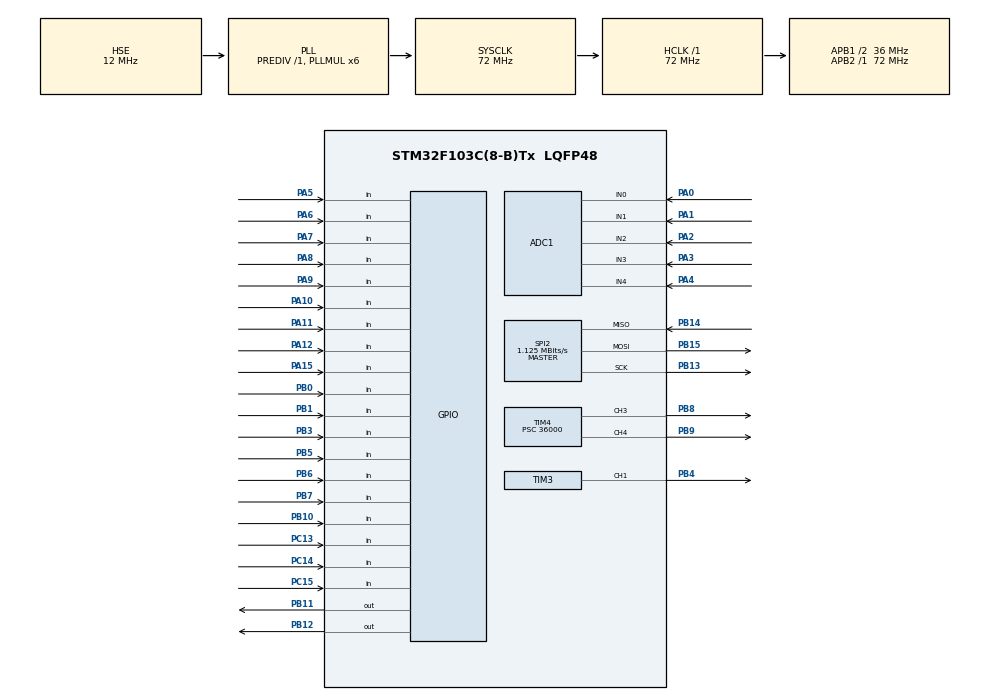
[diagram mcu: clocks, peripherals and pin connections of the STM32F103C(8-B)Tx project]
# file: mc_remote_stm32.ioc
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ADC1.Channel-0\#ChannelRegularConversion=ADC_CHANNEL_0
ADC1.Channel-1\#ChannelRegularConversion=ADC_CHANNEL_1
ADC1.Channel-2\#ChannelRegularConversion=ADC_CHANNEL_2
ADC1.Channel-3\#ChannelRegularConversion=ADC_CHANNEL_3
ADC1.Channel-4\#ChannelRegularConversion=ADC_CHANNEL_4
ADC1.ContinuousConvMode=ENABLE
ADC1.NbrOfConversion=5
ADC1.NbrOfConversionFlag=1
ADC1.Rank-0\#ChannelRegularConversion=1
ADC1.Rank-1\#ChannelRegularConversion=2
ADC1.Rank-2\#ChannelRegularConversion=3
ADC1.Rank-3\#ChannelRegularConversion=4
ADC1.Rank-4\#ChannelRegularConversion=5
ADC1.SamplingTime-0\#ChannelRegularConversion=ADC_SAMPLETIME_1CYCLE_5
ADC1.SamplingTime-1\#ChannelRegularConversion=ADC_SAMPLETIME_1CYCLE_5
ADC1.SamplingTime-2\#ChannelRegularConversion=ADC_SAMPLETIME_1CYCLE_5
ADC1.SamplingTime-3\#ChannelRegularConversion=ADC_SAMPLETIME_1CYCLE_5
ADC1.SamplingTime-4\#ChannelRegularConversion=ADC_SAMPLETIME_1CYCLE_5
ADC1.master=1
Dma.ADC1.0.Direction=DMA_PERIPH_TO_MEMORY
Dma.ADC1.0.Instance=DMA1_Channel1
Dma.ADC1.0.MemDataAlignment=DMA_MDATAALIGN_WORD
Dma.ADC1.0.MemInc=DMA_MINC_ENABLE
Dma.ADC1.0.Mode=DMA_CIRCULAR
Dma.ADC1.0.PeriphDataAlignment=DMA_PDATAALIGN_WORD
Dma.ADC1.0.PeriphInc=DMA_PINC_DISABLE
Dma.ADC1.0.Priority=DMA_PRIORITY_HIGH
Dma.Request0=ADC1
Mcu.Family=STM32F1
Mcu.Name=STM32F103C(8-B)Tx
Mcu.Package=LQFP48
NVIC.DMA1_Channel1_IRQn=true\:0\:0\:false\:false\:true\:false\:true
NVIC.PriorityGroup=NVIC_PRIORITYGROUP_4
PA0-WKUP.Signal=ADCx_IN0
PA1.Signal=ADCx_IN1
PA10.GPIO_PuPd=GPIO_PULLUP
PA10.Signal=GPIO_Input
PA11.GPIO_PuPd=GPIO_PULLUP
PA11.Signal=GPIO_Input
PA12.GPIO_PuPd=GPIO_PULLUP
PA12.Signal=GPIO_Input
PA13.Mode=Serial_Wire
PA13.Signal=SYS_JTMS-SWDIO
PA14.Mode=Serial_Wire
PA14.Signal=SYS_JTCK-SWCLK
PA15.GPIO_PuPd=GPIO_PULLUP
PA15.Signal=GPIO_Input
PA2.Signal=ADCx_IN2
PA3.Signal=ADCx_IN3
PA4.Signal=ADCx_IN4
PA5.GPIO_PuPd=GPIO_PULLUP
PA5.Signal=GPIO_Input
PA6.GPIO_PuPd=GPIO_PULLUP
PA6.Signal=GPIO_Input
PA7.GPIO_PuPd=GPIO_PULLUP
PA7.Signal=GPIO_Input
PA8.GPIO_PuPd=GPIO_PULLUP
PA8.Signal=GPIO_Input
PA9.GPIO_PuPd=GPIO_PULLUP
PA9.Signal=GPIO_Input
PB0.GPIO_PuPd=GPIO_PULLUP
PB0.Signal=GPIO_Input
PB1.GPIO_PuPd=GPIO_PULLUP
PB1.Signal=GPIO_Input
PB10.GPIO_PuPd=GPIO_PULLUP
PB10.Signal=GPIO_Input
PB11.GPIO_PuPd=GPIO_NOPULL
PB11.GPIO_Speed=GPIO_SPEED_FREQ_HIGH
PB11.PinState=GPIO_PIN_SET
PB11.Signal=GPIO_Output
PB12.GPIO_Speed=GPIO_SPEED_FREQ_HIGH
PB12.PinState=GPIO_PIN_SET
PB12.Signal=GPIO_Output
PB13.Mode=Full_Duplex_Master
PB13.Signal=SPI2_SCK
PB14.Mode=Full_Duplex_Master
PB14.Signal=SPI2_MISO
PB15.Mode=Full_Duplex_Master
PB15.Signal=SPI2_MOSI
PB3.GPIO_PuPd=GPIO_PULLUP
PB3.Signal=GPIO_Input
PB4.Signal=S_TIM3_CH1
PB5.GPIO_PuPd=GPIO_PULLUP
PB5.Signal=GPIO_Input
PB6.GPIO_PuPd=GPIO_PULLUP
PB6.Signal=GPIO_Input
PB7.GPIO_PuPd=GPIO_PULLUP
PB7.Signal=GPIO_Input
PB8.Signal=S_TIM4_CH3
PB9.Signal=S_TIM4_CH4
PC13-TAMPER-RTC.GPIO_PuPd=GPIO_PULLUP
PC13-TAMPER-RTC.Signal=GPIO_Input
PC14-OSC32_IN.GPIO_PuPd=GPIO_PULLUP
PC14-OSC32_IN.Signal=GPIO_Input
PC15-OSC32_OUT.GPIO_PuPd=GPIO_PULLUP
PC15-OSC32_OUT.Signal=GPIO_Input
PD0-OSC_IN.Mode=HSE-External-Oscillator
PD0-OSC_IN.Signal=RCC_OSC_IN
PD1-OSC_OUT.Mode=HSE-External-Oscillator
PD1-OSC_OUT.Signal=RCC_OSC_OUT
ProjectManager.HeapSize=0x200
ProjectManager.StackSize=0x400
ProjectManager.TargetToolchain=MDK-ARM V5
RCC.ADCPresc=RCC_ADCPCLK2_DIV8
RCC.AHBFreq_Value=72000000
RCC.APB1CLKDivider=RCC_HCLK_DIV2
RCC.APB1Freq_Value=36000000
RCC.APB1TimFreq_Value=72000000
RCC.APB2Freq_Value=72000000
RCC.APB2TimFreq_Value=72000000
RCC.HCLKFreq_Value=72000000
RCC.HSE_VALUE=12000000
RCC.PLLMUL=RCC_PLL_MUL6
RCC.PLLSourceVirtual=RCC_PLLSOURCE_HSE
RCC.SYSCLKFreq_VALUE=72000000
RCC.SYSCLKSource=RCC_SYSCLKSOURCE_PLLCLK
RCC.USBFreq_Value=72000000
SH.ADCx_IN0.0=ADC1_IN0,IN0
SH.ADCx_IN1.0=ADC1_IN1,IN1
SH.ADCx_IN2.0=ADC1_IN2,IN2
SH.ADCx_IN3.0=ADC1_IN3,IN3
SH.ADCx_IN4.0=ADC1_IN4,IN4
SH.S_TIM3_CH1.0=TIM3_CH1,PWM Generation1 CH1
SH.S_TIM4_CH3.0=TIM4_CH3,PWM Generation3 CH3
SH.S_TIM4_CH4.0=TIM4_CH4,PWM Generation4 CH4
SPI2.BaudRatePrescaler=SPI_BAUDRATEPRESCALER_32
SPI2.CalculateBaudRate=1.125 MBits/s
SPI2.Direction=SPI_DIRECTION_2LINES
SPI2.Mode=SPI_MODE_MASTER
SPI2.VirtualType=VM_MASTER
TIM3.AutoReloadPreload=TIM_AUTORELOAD_PRELOAD_ENABLE
TIM3.Channel-PWM\ Generation1\ CH1=TIM_CHANNEL_1
TIM3.OCPolarity_1=TIM_OCPOLARITY_LOW
TIM3.Period=20
TIM3.Prescaler=72
TIM3.Pulse-PWM\ Generation1\ CH1=21
TIM4.AutoReloadPreload=TIM_AUTORELOAD_PRELOAD_ENABLE
TIM4.Channel-PWM\ Generation3\ CH3=TIM_CHANNEL_3
TIM4.Channel-PWM\ Generation4\ CH4=TIM_CHANNEL_4
TIM4.Period=2000
TIM4.Prescaler=36000
TIM4.Pulse-PWM\ Generation3\ CH3=1000
TIM4.Pulse-PWM\ Generation4\ CH4=1000
board=custom

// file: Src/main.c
/* USER CODE BEGIN Header */
/**
  ******************************************************************************
  * @file           : main.c
  * @brief          : Main program body
  ******************************************************************************
  * @attention
  *
  * <h2><center>&copy; Copyright (c) 2019 STMicroelectronics.
  * All rights reserved.</center></h2>
  *
  * This software component is licensed by ST under BSD 3-Clause license,
  * the "License"; You may not use this file except in compliance with the
  * License. You may obtain a copy of the License at:
  *                        opensource.org/licenses/BSD-3-Clause
  *
  ******************************************************************************
  */
/* USER CODE END Header */

#include "main.h"

/* USER CODE BEGIN Includes */
#include "string.h"
#include "dev.h"
/* USER CODE END Includes */

ADC_HandleTypeDef hadc1;
DMA_HandleTypeDef hdma_adc1;

SPI_HandleTypeDef hspi2;

TIM_HandleTypeDef htim3;
TIM_HandleTypeDef htim4;

/* USER CODE BEGIN PV */
dev_HandleTypeDef __led_ctrl;
dev_HandleTypeDef __beep_ctrl;
dev_HandleTypeDef __crc16;
dev_HandleTypeDef __comm;
dev_HandleTypeDef __flash;
fls_HandleTypeDef __fls;
rcs_HandleTypeDef __rc;
tep_HandleTypeDef __tep;
dev_HandleTypeDef __nrf;
/* USER CODE END PV */

void SystemClock_Config(void);
static void MX_GPIO_Init(void);
static void MX_DMA_Init(void);
static void MX_ADC1_Init(void);
static void MX_SPI2_Init(void);
static void MX_TIM3_Init(void);
static void MX_TIM4_Init(void);

/* USER CODE BEGIN 0 */
static uint32_t ADC_Value[SAMPLE_DEEP][SAMPLE_CHANNEL_COUNT];
/* adc raw data */
static unsigned int adc_raw_data[5];
/* unique ID got it form crc16 */
static unsigned short unique_id;
/* temple data */
static unsigned int dir[4] = {1,0,1,1};
/* send data freq */
static unsigned int send_freq = 0;
/*!< DMA transfer complete callback */
void HAL_ADC_ConvHalfCpltCallback(ADC_HandleTypeDef* hadc)
{

}

/* USER CODE END 0 */

int main(void)
{

  /* MCU Configuration--------------------------------------------------------*/

  /* Reset of all peripherals, Initializes the Flash interface and the Systick. */
  HAL_Init();

  /* Configure the system clock */
  SystemClock_Config();

  /* Initialize all configured peripherals */
  MX_GPIO_Init();
  MX_DMA_Init();
  MX_ADC1_Init();
  MX_SPI2_Init();
  MX_TIM3_Init();
  MX_TIM4_Init();
  /* USER CODE BEGIN 2 */
  Beep_Init(&__beep_ctrl);
	led_Init(&__led_ctrl);
	CRC16_Init(&__crc16);
	common_Init(&__comm);
	Flash_Init(&__flash);
	/* get unique ID */
	unique_id = __comm.ioctrl(UNIQUE_ID,0,&__crc16,0);
	/* logic code . check battery and nrf first */
	__comm.read((unsigned int)&ADC_Value,adc_raw_data,sizeof(adc_raw_data)/sizeof(adc_raw_data[0]));
	/* check nrf */
	if( nrf24L01_Init(&__nrf,&hspi2,unique_id) != 0 )
	{
		/* can not find the nrf moudle */
		__led_ctrl.ioctrl(GT_RT,0,0,0);
		/* stop at here */
		while(1);
	}
	/* need to calibrate or not */
	if( __flash.ioctrl(CALI_BUFFER,(unsigned int)&__crc16,&__fls,sizeof(__fls)) != 0 ||
		  __comm.ioctrl(KEY_CALIBRATION,0,0,0) == 0 ||
	    __fls.unique_id != unique_id )
	{
		/* notity */
		__led_ctrl.ioctrl(GS_RS,0,0,0);
		/* get unique ID */
		__fls.unique_id = unique_id;
		/* process of calibration */
		__comm.process((unsigned int)&ADC_Value,(unsigned int)&__fls,
			             (unsigned int)&__led_ctrl,(unsigned int)&__flash,(unsigned int)&__crc16);
	}
	/* Get the direction of each channel */
	dir[0] = ( HAL_GPIO_ReadPin(GPIOB,GPIO_PIN_6) == 0 ) ? 0 : 1;
	dir[1] = ( HAL_GPIO_ReadPin(GPIOB,GPIO_PIN_5) == 0 ) ? 1 : 0;
	dir[2] = ( HAL_GPIO_ReadPin(GPIOB,GPIO_PIN_1) == 0 ) ? 0 : 1;
	dir[3] = ( HAL_GPIO_ReadPin(GPIOB,GPIO_PIN_3) == 0 ) ? 0 : 1;
  /* USER CODE END 2 */

  /* Infinite loop */
	__led_ctrl.ioctrl(GS_RO,0,0,0);
  /* USER CODE BEGIN WHILE */
  while (1)
  {
		/* Filtering the collected data to generate the original data */
    __comm.read((unsigned int)&ADC_Value,adc_raw_data,sizeof(adc_raw_data)/sizeof(adc_raw_data[0]));
		/* transfer to rc */
		__tep.raw = (int *)&adc_raw_data;
		__tep.rc  = &__rc;
		__tep.fls = &__fls;
		__tep.dir = (unsigned int *)&dir;
		__tep.crc = &__crc16;
		__tep.unique_id = unique_id;
		/* transfer to rc */
		__comm.ioctrl(TRANSFER_RC,0,&__tep,sizeof(__tep));
		/* send data */
		if( ! ( send_freq ++ % 80 ) )
		{
		   __nrf.write(0,&__rc,sizeof(__rc));
		}
		/* low power . beep */
		if( adc_raw_data[4] < 2358 ) //( 3.8V / 2 ) / 3.3 * 4096 = 2358;
		{
			#if SILIENCE_DEBUG
					__beep_ctrl.ioctrl(LOWPOWER,0,0,0);
			#endif
		}
    /* USER CODE END WHILE */

  }
}

void SystemClock_Config(void)
{
  RCC_OscInitTypeDef RCC_OscInitStruct = {0};
  RCC_ClkInitTypeDef RCC_ClkInitStruct = {0};
  RCC_PeriphCLKInitTypeDef PeriphClkInit = {0};

  /** Initializes the CPU, AHB and APB busses clocks
  */
  RCC_OscInitStruct.OscillatorType = RCC_OSCILLATORTYPE_HSE;
  RCC_OscInitStruct.HSEState = RCC_HSE_ON;
  RCC_OscInitStruct.HSEPredivValue = RCC_HSE_PREDIV_DIV1;
  RCC_OscInitStruct.HSIState = RCC_HSI_ON;
  RCC_OscInitStruct.PLL.PLLState = RCC_PLL_ON;
  RCC_OscInitStruct.PLL.PLLSource = RCC_PLLSOURCE_HSE;
  RCC_OscInitStruct.PLL.PLLMUL = RCC_PLL_MUL6;
  if (HAL_RCC_OscConfig(&RCC_OscInitStruct) != HAL_OK)
  {
    Error_Handler();
  }
  /** Initializes the CPU, AHB and APB busses clocks
  */
  RCC_ClkInitStruct.ClockType = RCC_CLOCKTYPE_HCLK|RCC_CLOCKTYPE_SYSCLK
                              |RCC_CLOCKTYPE_PCLK1|RCC_CLOCKTYPE_PCLK2;
  RCC_ClkInitStruct.SYSCLKSource = RCC_SYSCLKSOURCE_PLLCLK;
  RCC_ClkInitStruct.AHBCLKDivider = RCC_SYSCLK_DIV1;
  RCC_ClkInitStruct.APB1CLKDivider = RCC_HCLK_DIV2;
  RCC_ClkInitStruct.APB2CLKDivider = RCC_HCLK_DIV1;

  if (HAL_RCC_ClockConfig(&RCC_ClkInitStruct, FLASH_LATENCY_2) != HAL_OK)
  {
    Error_Handler();
  }
  PeriphClkInit.PeriphClockSelection = RCC_PERIPHCLK_ADC;
  PeriphClkInit.AdcClockSelection = RCC_ADCPCLK2_DIV8;
  if (HAL_RCCEx_PeriphCLKConfig(&PeriphClkInit) != HAL_OK)
  {
    Error_Handler();
  }
}

static void MX_ADC1_Init(void)
{

  ADC_ChannelConfTypeDef sConfig = {0};

  /** Common config
  */
  hadc1.Instance = ADC1;
  hadc1.Init.ScanConvMode = ADC_SCAN_ENABLE;
  hadc1.Init.ContinuousConvMode = ENABLE;
  hadc1.Init.DiscontinuousConvMode = DISABLE;
  hadc1.Init.ExternalTrigConv = ADC_SOFTWARE_START;
  hadc1.Init.DataAlign = ADC_DATAALIGN_RIGHT;
  hadc1.Init.NbrOfConversion = 5;
  if (HAL_ADC_Init(&hadc1) != HAL_OK)
  {
    Error_Handler();
  }
  /** Configure Regular Channel
  */
  sConfig.Channel = ADC_CHANNEL_0;
  sConfig.Rank = ADC_REGULAR_RANK_1;
  sConfig.SamplingTime = ADC_SAMPLETIME_1CYCLE_5;
  if (HAL_ADC_ConfigChannel(&hadc1, &sConfig) != HAL_OK)
  {
    Error_Handler();
  }
  /** Configure Regular Channel
  */
  sConfig.Channel = ADC_CHANNEL_1;
  sConfig.Rank = ADC_REGULAR_RANK_2;
  if (HAL_ADC_ConfigChannel(&hadc1, &sConfig) != HAL_OK)
  {
    Error_Handler();
  }
  /** Configure Regular Channel
  */
  sConfig.Channel = ADC_CHANNEL_2;
  sConfig.Rank = ADC_REGULAR_RANK_3;
  if (HAL_ADC_ConfigChannel(&hadc1, &sConfig) != HAL_OK)
  {
    Error_Handler();
  }
  /** Configure Regular Channel
  */
  sConfig.Channel = ADC_CHANNEL_3;
  sConfig.Rank = ADC_REGULAR_RANK_4;
  if (HAL_ADC_ConfigChannel(&hadc1, &sConfig) != HAL_OK)
  {
    Error_Handler();
  }
  /** Configure Regular Channel
  */
  sConfig.Channel = ADC_CHANNEL_4;
  sConfig.Rank = ADC_REGULAR_RANK_5;
  if (HAL_ADC_ConfigChannel(&hadc1, &sConfig) != HAL_OK)
  {
    Error_Handler();
  }
  /* USER CODE BEGIN ADC1_Init 2 */
  HAL_ADC_Start_DMA(&hadc1, (uint32_t*)&ADC_Value, sizeof(ADC_Value) / 4 );
  /* USER CODE END ADC1_Init 2 */

}

static void MX_SPI2_Init(void)
{

  /* SPI2 parameter configuration*/
  hspi2.Instance = SPI2;
  hspi2.Init.Mode = SPI_MODE_MASTER;
  hspi2.Init.Direction = SPI_DIRECTION_2LINES;
  hspi2.Init.DataSize = SPI_DATASIZE_8BIT;
  hspi2.Init.CLKPolarity = SPI_POLARITY_LOW;
  hspi2.Init.CLKPhase = SPI_PHASE_1EDGE;
  hspi2.Init.NSS = SPI_NSS_SOFT;
  hspi2.Init.BaudRatePrescaler = SPI_BAUDRATEPRESCALER_32;
  hspi2.Init.FirstBit = SPI_FIRSTBIT_MSB;
  hspi2.Init.TIMode = SPI_TIMODE_DISABLE;
  hspi2.Init.CRCCalculation = SPI_CRCCALCULATION_DISABLE;
  hspi2.Init.CRCPolynomial = 10;
  if (HAL_SPI_Init(&hspi2) != HAL_OK)
  {
    Error_Handler();
  }

}

static void MX_TIM3_Init(void)
{

  TIM_MasterConfigTypeDef sMasterConfig = {0};
  TIM_OC_InitTypeDef sConfigOC = {0};

  htim3.Instance = TIM3;
  htim3.Init.Prescaler = 72;
  htim3.Init.CounterMode = TIM_COUNTERMODE_UP;
  htim3.Init.Period = 20;
  htim3.Init.ClockDivision = TIM_CLOCKDIVISION_DIV1;
  htim3.Init.AutoReloadPreload = TIM_AUTORELOAD_PRELOAD_ENABLE;
  if (HAL_TIM_PWM_Init(&htim3) != HAL_OK)
  {
    Error_Handler();
  }
  sMasterConfig.MasterOutputTrigger = TIM_TRGO_RESET;
  sMasterConfig.MasterSlaveMode = TIM_MASTERSLAVEMODE_DISABLE;
  if (HAL_TIMEx_MasterConfigSynchronization(&htim3, &sMasterConfig) != HAL_OK)
  {
    Error_Handler();
  }
  sConfigOC.OCMode = TIM_OCMODE_PWM1;
  sConfigOC.Pulse = 21;
  sConfigOC.OCPolarity = TIM_OCPOLARITY_LOW;
  sConfigOC.OCFastMode = TIM_OCFAST_DISABLE;
  if (HAL_TIM_PWM_ConfigChannel(&htim3, &sConfigOC, TIM_CHANNEL_1) != HAL_OK)
  {
    Error_Handler();
  }
  /* USER CODE BEGIN TIM3_Init 2 */
  HAL_TIM_PWM_Start(&htim3,TIM_CHANNEL_1);
  /* USER CODE END TIM3_Init 2 */
  HAL_TIM_MspPostInit(&htim3);

}

static void MX_TIM4_Init(void)
{

  TIM_MasterConfigTypeDef sMasterConfig = {0};
  TIM_OC_InitTypeDef sConfigOC = {0};

  htim4.Instance = TIM4;
  htim4.Init.Prescaler = 36000;
  htim4.Init.CounterMode = TIM_COUNTERMODE_UP;
  htim4.Init.Period = 2000;
  htim4.Init.ClockDivision = TIM_CLOCKDIVISION_DIV1;
  htim4.Init.AutoReloadPreload = TIM_AUTORELOAD_PRELOAD_ENABLE;
  if (HAL_TIM_PWM_Init(&htim4) != HAL_OK)
  {
    Error_Handler();
  }
  sMasterConfig.MasterOutputTrigger = TIM_TRGO_RESET;
  sMasterConfig.MasterSlaveMode = TIM_MASTERSLAVEMODE_DISABLE;
  if (HAL_TIMEx_MasterConfigSynchronization(&htim4, &sMasterConfig) != HAL_OK)
  {
    Error_Handler();
  }
  sConfigOC.OCMode = TIM_OCMODE_PWM1;
  sConfigOC.Pulse = 1000;
  sConfigOC.OCPolarity = TIM_OCPOLARITY_HIGH;
  sConfigOC.OCFastMode = TIM_OCFAST_DISABLE;
  if (HAL_TIM_PWM_ConfigChannel(&htim4, &sConfigOC, TIM_CHANNEL_3) != HAL_OK)
  {
    Error_Handler();
  }
  if (HAL_TIM_PWM_ConfigChannel(&htim4, &sConfigOC, TIM_CHANNEL_4) != HAL_OK)
  {
    Error_Handler();
  }
  /* USER CODE BEGIN TIM4_Init 2 */
  HAL_TIM_PWM_Start(&htim4,TIM_CHANNEL_3);
	HAL_TIM_PWM_Start(&htim4,TIM_CHANNEL_4);
  /* USER CODE END TIM4_Init 2 */
  HAL_TIM_MspPostInit(&htim4);

}

static void MX_DMA_Init(void)
{
  /* DMA controller clock enable */
  __HAL_RCC_DMA1_CLK_ENABLE();

  /* DMA interrupt init */
  /* DMA1_Channel1_IRQn interrupt configuration */
  HAL_NVIC_SetPriority(DMA1_Channel1_IRQn, 0, 0);
  HAL_NVIC_EnableIRQ(DMA1_Channel1_IRQn);

}

static void MX_GPIO_Init(void)
{
  GPIO_InitTypeDef GPIO_InitStruct = {0};

  /* GPIO Ports Clock Enable */
  __HAL_RCC_GPIOC_CLK_ENABLE();
  __HAL_RCC_GPIOD_CLK_ENABLE();
  __HAL_RCC_GPIOA_CLK_ENABLE();
  __HAL_RCC_GPIOB_CLK_ENABLE();

  /*Configure GPIO pin Output Level */
  HAL_GPIO_WritePin(GPIOB, GPIO_PIN_11|GPIO_PIN_12, GPIO_PIN_SET);

  /*Configure GPIO pins : PC13 PC14 PC15 */
  GPIO_InitStruct.Pin = GPIO_PIN_13|GPIO_PIN_14|GPIO_PIN_15;
  GPIO_InitStruct.Mode = GPIO_MODE_INPUT;
  GPIO_InitStruct.Pull = GPIO_PULLUP;
  HAL_GPIO_Init(GPIOC, &GPIO_InitStruct);

  /*Configure GPIO pins : PA5 PA6 PA7 PA8
                           PA9 PA10 PA11 PA12
                           PA15 */
  GPIO_InitStruct.Pin = GPIO_PIN_5|GPIO_PIN_6|GPIO_PIN_7|GPIO_PIN_8
                          |GPIO_PIN_9|GPIO_PIN_10|GPIO_PIN_11|GPIO_PIN_12
                          |GPIO_PIN_15;
  GPIO_InitStruct.Mode = GPIO_MODE_INPUT;
  GPIO_InitStruct.Pull = GPIO_PULLUP;
  HAL_GPIO_Init(GPIOA, &GPIO_InitStruct);

  /*Configure GPIO pins : PB0 PB1 PB10 PB3
                           PB5 PB6 PB7 */
  GPIO_InitStruct.Pin = GPIO_PIN_0|GPIO_PIN_1|GPIO_PIN_10|GPIO_PIN_3
                          |GPIO_PIN_5|GPIO_PIN_6|GPIO_PIN_7;
  GPIO_InitStruct.Mode = GPIO_MODE_INPUT;
  GPIO_InitStruct.Pull = GPIO_PULLUP;
  HAL_GPIO_Init(GPIOB, &GPIO_InitStruct);

  /*Configure GPIO pins : PB11 PB12 */
  GPIO_InitStruct.Pin = GPIO_PIN_11|GPIO_PIN_12;
  GPIO_InitStruct.Mode = GPIO_MODE_OUTPUT_PP;
  GPIO_InitStruct.Pull = GPIO_NOPULL;
  GPIO_InitStruct.Speed = GPIO_SPEED_FREQ_HIGH;
  HAL_GPIO_Init(GPIOB, &GPIO_InitStruct);

}

void Error_Handler(void)
{
}

/************************ (C) COPYRIGHT STMicroelectronics *****END OF FILE****/
